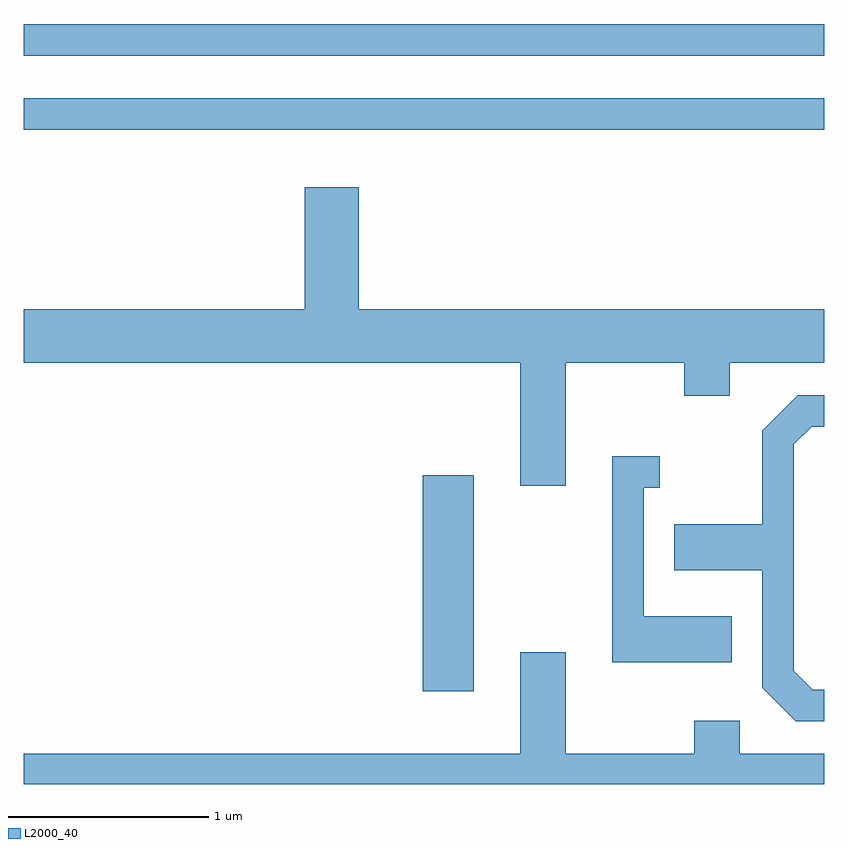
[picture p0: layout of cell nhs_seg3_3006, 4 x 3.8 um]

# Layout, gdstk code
import gdstk
lib = gdstk.Library(unit=1e-6, precision=1e-09)
def R(c, l, rs):  # rectangles x0, y0, x1, y1
    for r in rs: c.add(gdstk.rectangle(r[:2], r[2:], *l))
def P(c, l, *ps):  # polygons
    for p in ps: c.add(gdstk.Polygon(p, *l))
L2000_40 = (2000, 40)

nhs_seg3_3006 = lib.new_cell('nhs_seg3_3006')
R(nhs_seg3_3006, L2000_40, [(275.606,1144.356,275.859,1145.434), (273.611,1147.161,277.611,1147.319), (273.611,1147.531,277.611,1147.689)])
P(nhs_seg3_3006, L2000_40, [(276.319,1145.996),(276.911,1145.996),(276.911,1145.831),(277.139,1145.831),(277.139,1145.996),(277.611,1145.996),(277.611,1146.264),(275.284,1146.264),(275.284,1146.874),(275.016,1146.874),(275.016,1146.264),(273.611,1146.264),(273.611,1145.996),(276.091,1145.996),(276.091,1145.381),(276.319,1145.381)],
  [(277.611,1144.364),(277.552,1144.364),(277.459,1144.457),(277.459,1145.589),(277.547,1145.676),(277.611,1145.676),(277.611,1145.834),(277.479,1145.834),(277.301,1145.657),(277.301,1145.189),(276.861,1145.189),(276.861,1144.961),(277.301,1144.961),(277.301,1144.374),(277.469,1144.206),(277.611,1144.206)],
  [(277.149,1144.729),(276.709,1144.729),(276.709,1145.371),(276.788,1145.371),(276.788,1145.529),(276.551,1145.529),(276.551,1144.501),(277.149,1144.501)],
  [(277.611,1144.044),(277.189,1144.044),(277.189,1144.209),(276.961,1144.209),(276.961,1144.044),(276.319,1144.044),(276.319,1144.549),(276.091,1144.549),(276.091,1144.044),(273.611,1144.044),(273.611,1143.892),(277.611,1143.892)])

lib.write_gds('nhs_seg3_3006.gds')
